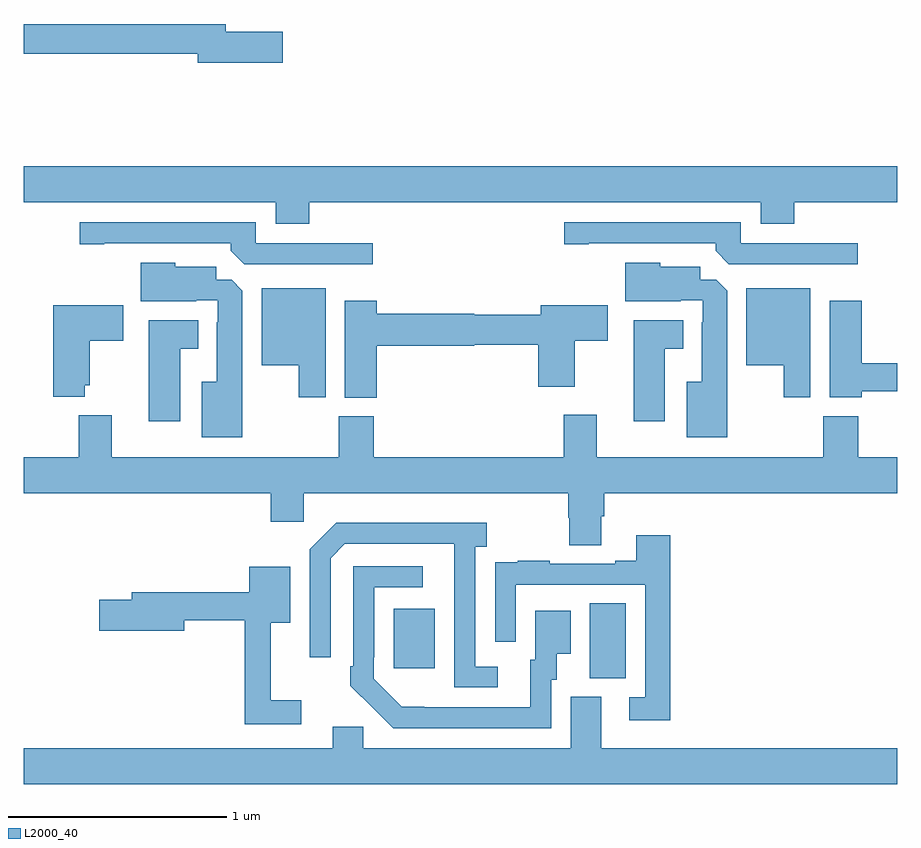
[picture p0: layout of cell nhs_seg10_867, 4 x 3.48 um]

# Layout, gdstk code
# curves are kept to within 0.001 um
import gdstk
lib = gdstk.Library(unit=1e-6, precision=1e-09)
def R(c, l, rs):  # rectangles x0, y0, x1, y1
    for r in rs: c.add(gdstk.rectangle(r[:2], r[2:], *l))
def P(c, l, *ps):  # polygons
    for p in ps: c.add(gdstk.Polygon(p, *l))
L2000_40 = (2000, 40)

nhs_seg10_867 = lib.new_cell('nhs_seg10_867')
R(nhs_seg10_867, L2000_40, [(157.592,1267.501,157.756,1267.844), (156.695,1267.545,156.883,1267.819)])
P(nhs_seg10_867, L2000_40, [(156.187,1270.46),(155.926,1270.46),(155.926,1270.496),(155,1270.496),(155,1270.36),(155.798,1270.36),(155.798,1270.318),(156.187,1270.318)],
  [(156.308,1269.68),(158.375,1269.68),(158.375,1269.581),(158.528,1269.581),(158.528,1269.68),(159,1269.68),(159,1269.844),(155,1269.844),(155,1269.68),(156.155,1269.68),(156.155,1269.581),(156.308,1269.581)],
  [(158.818,1269.492),(158.283,1269.492),(158.283,1269.588),(157.476,1269.588),(157.476,1269.487),(157.588,1269.487),(157.588,1269.492),(158.168,1269.492),(158.168,1269.458),(158.229,1269.396),(158.818,1269.396)],
  [(156.598,1269.492),(156.063,1269.492),(156.063,1269.588),(155.256,1269.588),(155.256,1269.487),(155.368,1269.487),(155.368,1269.492),(155.948,1269.492),(155.948,1269.458),(156.009,1269.396),(156.598,1269.396)],
  [(156.001,1269.275),(155.952,1269.324),(155.881,1269.324),(155.881,1269.385),(155.694,1269.385),(155.694,1269.403),(155.537,1269.403),(155.537,1269.227),(155.789,1269.227),(155.789,1269.231),(155.889,1269.231),(155.889,1269.131),(155.885,1269.131),(155.885,1268.857),(155.816,1268.857),(155.816,1268.603),(156.001,1268.603)],
  [(158.221,1269.275),(158.172,1269.324),(158.098,1269.324),(158.098,1269.385),(157.914,1269.385),(157.914,1269.403),(157.754,1269.403),(157.754,1269.227),(158.009,1269.227),(158.009,1269.231),(158.109,1269.231),(158.109,1269.131),(158.105,1269.131),(158.105,1268.857),(158.036,1268.857),(158.036,1268.603),(158.221,1268.603)],
  [(158.602,1269.286),(158.309,1269.286),(158.309,1268.933),(158.48,1268.933),(158.48,1268.787),(158.602,1268.787)],
  [(156.382,1269.286),(156.089,1269.286),(156.089,1268.933),(156.26,1268.933),(156.26,1268.787),(156.382,1268.787)],
  [(156.617,1269.023),(157.062,1269.023),(157.062,1269.028),(157.355,1269.028),(157.355,1268.835),(157.522,1268.835),(157.522,1269.046),(157.675,1269.046),(157.675,1269.208),(157.367,1269.208),(157.367,1269.164),(157.062,1269.164),(157.062,1269.17),(156.617,1269.17),(156.617,1269.229),(156.47,1269.229),(156.47,1268.785),(156.617,1268.785)],
  [(158.837,1268.814),(159,1268.814),(159,1268.942),(158.837,1268.942),(158.837,1269.229),(158.69,1269.229),(158.69,1268.786),(158.837,1268.786)],
  [(155.28,1268.843),(155.302,1268.843),(155.302,1269.046),(155.455,1269.046),(155.455,1269.208),(155.135,1269.208),(155.135,1268.789),(155.28,1268.789)],
  [(157.936,1269.008),(158.02,1269.008),(158.02,1269.139),(157.793,1269.139),(157.793,1268.676),(157.936,1268.676)],
  [(155.716,1269.008),(155.8,1269.008),(155.8,1269.139),(155.573,1269.139),(155.573,1268.676),(155.716,1268.676)],
  [(157.645,1268.242),(157.658,1268.242),(157.658,1268.348),(159,1268.348),(159,1268.512),(158.822,1268.512),(158.822,1268.701),(158.662,1268.701),(158.662,1268.512),(157.624,1268.512),(157.624,1268.707),(157.472,1268.707),(157.472,1268.512),(156.602,1268.512),(156.602,1268.7),(156.442,1268.7),(156.442,1268.512),(155.404,1268.512),(155.404,1268.704),(155.252,1268.704),(155.252,1268.512),(155,1268.512),(155,1268.348),(156.131,1268.348),(156.131,1268.217),(156.282,1268.217),(156.282,1268.348),(157.493,1268.348),(157.493,1268.235),(157.498,1268.235),(157.498,1268.11),(157.645,1268.11)],
  [(157.171,1267.554),(157.068,1267.554),(157.068,1268.102),(157.12,1268.102),(157.12,1268.212),(156.43,1268.212),(156.309,1268.091),(156.309,1267.596),(156.405,1267.596),(156.405,1268.049),(156.471,1268.115),(156.971,1268.115),(156.972,1267.458),(157.171,1267.458)],
  [(157.961,1268.155),(157.805,1268.155),(157.805,1268.038),(157.709,1268.038),(157.709,1268.025),(157.409,1268.025),(157.409,1268.038),(157.261,1268.038),(157.261,1268.031),(157.159,1268.031),(157.159,1267.922),(157.158,1267.922),(157.158,1267.668),(157.254,1267.668),(157.254,1267.929),(157.845,1267.929),(157.845,1267.413),(157.773,1267.413),(157.773,1267.308),(157.961,1267.308)],
  [(157.416,1267.494),(157.441,1267.494),(157.441,1267.613),(157.504,1267.613),(157.504,1267.81),(157.343,1267.81),(157.343,1267.584),(157.319,1267.584),(157.319,1267.368),(156.732,1267.369),(156.603,1267.497),(156.603,1267.597),(156.606,1267.597),(156.606,1267.917),(156.826,1267.917),(156.826,1268.013),(156.51,1268.013),(156.51,1267.555),(156.495,1267.555),(156.495,1267.467),(156.692,1267.272),(157.416,1267.272)],
  [(156.271,1267.399),(156.131,1267.399),(156.131,1267.754),(156.22,1267.754),(156.22,1268.011),(156.032,1268.011),(156.032,1267.894),(155.495,1267.894),(155.495,1267.86),(155.346,1267.86),(155.346,1267.718),(155.734,1267.718),(155.734,1267.765),(156.013,1267.765),(156.013,1267.29),(156.271,1267.29)],
  [(159,1267.18),(157.645,1267.18),(157.645,1267.416),(157.505,1267.416),(157.505,1267.18),(156.555,1267.18),(156.555,1267.278),(156.416,1267.278),(156.416,1267.18),(155,1267.18),(155,1267.016),(159,1267.016)])

lib.write_gds('nhs_seg10_867.gds')
